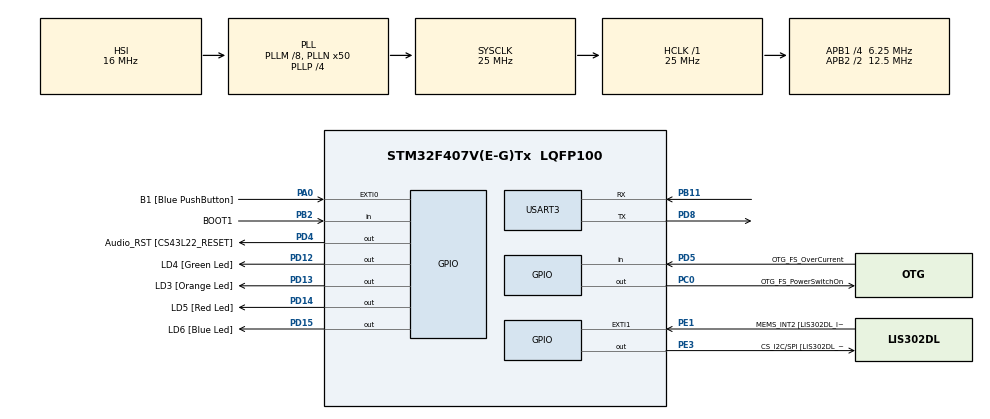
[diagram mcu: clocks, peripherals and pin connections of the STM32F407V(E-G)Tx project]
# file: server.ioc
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Mcu.Family=STM32F4
Mcu.Name=STM32F407V(E-G)Tx
Mcu.Package=LQFP100
NVIC.EXTI0_IRQn=true\:0\:0\:false\:false\:true\:true\:true\:true
NVIC.PriorityGroup=NVIC_PRIORITYGROUP_0
NVIC.USART3_IRQn=true\:0\:0\:false\:false\:true\:true\:true\:true
PA0-WKUP.GPIO_Label=B1 [Blue PushButton]
PA0-WKUP.GPIO_ModeDefaultEXTI=GPIO_MODE_IT_FALLING
PA0-WKUP.Signal=GPXTI0
PA10.GPIO_Label=OTG_FS_ID
PA10.GPIO_Mode=GPIO_MODE_AF_PP
PA10.GPIO_PuPd=GPIO_NOPULL
PA10.GPIO_Speed=GPIO_SPEED_FREQ_LOW
PA10.Signal=USB_OTG_FS_ID
PA11.GPIO_Label=OTG_FS_DM
PA11.GPIO_Mode=GPIO_MODE_AF_PP
PA11.GPIO_PuPd=GPIO_NOPULL
PA11.GPIO_Speed=GPIO_SPEED_FREQ_LOW
PA11.Signal=USB_OTG_FS_DM
PA12.GPIO_Label=OTG_FS_DP
PA12.GPIO_Mode=GPIO_MODE_AF_PP
PA12.GPIO_PuPd=GPIO_NOPULL
PA12.GPIO_Speed=GPIO_SPEED_FREQ_LOW
PA12.Signal=USB_OTG_FS_DP
PA13.GPIO_Label=SWDIO
PA13.Signal=SYS_JTMS-SWDIO
PA14.GPIO_Label=SWCLK
PA14.Signal=SYS_JTCK-SWCLK
PA4.GPIO_Label=I2S3_WS [CS43L22_LRCK]
PA4.GPIO_Mode=GPIO_MODE_AF_PP
PA4.GPIO_PuPd=GPIO_NOPULL
PA4.GPIO_Speed=GPIO_SPEED_FREQ_LOW
PA4.Signal=I2S3_WS
PA5.GPIO_Label=SPI1_SCK [LIS302DL_SCL/SPC]
PA5.GPIO_Mode=GPIO_MODE_AF_PP
PA5.GPIO_PuPd=GPIO_NOPULL
PA5.GPIO_Speed=GPIO_SPEED_FREQ_LOW
PA5.Signal=SPI1_SCK
PA6.GPIO_Label=SPI1_MISO [LIS302DL_SDO]
PA6.GPIO_Mode=GPIO_MODE_AF_PP
PA6.GPIO_PuPd=GPIO_NOPULL
PA6.GPIO_Speed=GPIO_SPEED_FREQ_LOW
PA6.Signal=SPI1_MISO
PA7.GPIO_Label=SPI1_MOSI [LIS302DL_SDA/SDI/SDO]
PA7.GPIO_Mode=GPIO_MODE_AF_PP
PA7.GPIO_PuPd=GPIO_NOPULL
PA7.GPIO_Speed=GPIO_SPEED_FREQ_LOW
PA7.Signal=SPI1_MOSI
PA9.GPIO_Label=VBUS_FS
PA9.GPIO_Mode=GPIO_MODE_INPUT
PA9.GPIO_PuPd=GPIO_NOPULL
PA9.Signal=USB_OTG_FS_VBUS
PB10.GPIO_Label=CLK_IN [MP45DT02_CLK]
PB10.GPIO_Mode=GPIO_MODE_AF_PP
PB10.GPIO_PuPd=GPIO_NOPULL
PB10.GPIO_Speed=GPIO_SPEED_FREQ_LOW
PB10.Signal=I2S2_CK
PB11.Mode=Asynchronous
PB11.Signal=USART3_RX
PB2.GPIO_Label=BOOT1
PB2.GPIO_Mode=GPIO_MODE_INPUT
PB2.GPIO_PuPd=GPIO_NOPULL
PB2.Signal=GPIO_Input
PB3.GPIO_Label=SWO
PB3.Signal=SYS_JTDO-SWO
PB6.GPIO_Label=Audio_SCL [CS43L22_SCL]
PB6.GPIO_Mode=GPIO_MODE_AF_OD
PB6.GPIO_PuPd=GPIO_NOPULL
PB6.GPIO_Speed=GPIO_SPEED_FREQ_LOW
PB6.Signal=I2C1_SCL
PB9.GPIO_Label=Audio_SDA [CS43L22_SDA]
PB9.GPIO_Mode=GPIO_MODE_AF_OD
PB9.GPIO_PuPd=GPIO_NOPULL
PB9.GPIO_Speed=GPIO_SPEED_FREQ_LOW
PB9.Signal=I2C1_SDA
PC0.GPIO_Label=OTG_FS_PowerSwitchOn
PC0.GPIO_PuPd=GPIO_NOPULL
PC0.GPIO_Speed=GPIO_SPEED_FREQ_LOW
PC0.PinState=GPIO_PIN_SET
PC0.Signal=GPIO_Output
PC10.GPIO_Label=I2S3_SCK [CS43L22_SCLK]
PC10.GPIO_Mode=GPIO_MODE_AF_PP
PC10.GPIO_PuPd=GPIO_NOPULL
PC10.GPIO_Speed=GPIO_SPEED_FREQ_LOW
PC10.Signal=I2S3_CK
PC12.GPIO_Label=I2S3_SD [CS43L22_SDIN]
PC12.GPIO_Mode=GPIO_MODE_AF_PP
PC12.GPIO_PuPd=GPIO_NOPULL
PC12.GPIO_Speed=GPIO_SPEED_FREQ_LOW
PC12.Signal=I2S3_SD
PC14-OSC32_IN.GPIO_Label=PC14-OSC32_IN
PC14-OSC32_IN.Signal=RCC_OSC32_IN
PC15-OSC32_OUT.GPIO_Label=PC15-OSC32_OUT
PC15-OSC32_OUT.Signal=RCC_OSC32_OUT
PC3.GPIO_Label=PDM_OUT [MP45DT02_DOUT]
PC3.GPIO_Mode=GPIO_MODE_AF_PP
PC3.GPIO_PuPd=GPIO_NOPULL
PC3.GPIO_Speed=GPIO_SPEED_FREQ_LOW
PC3.Signal=I2S2_SD
PC7.GPIO_Label=I2S3_MCK [CS43L22_MCLK]
PC7.GPIO_Mode=GPIO_MODE_AF_PP
PC7.GPIO_PuPd=GPIO_NOPULL
PC7.GPIO_Speed=GPIO_SPEED_FREQ_LOW
PC7.Signal=I2S3_MCK
PD12.GPIO_Label=LD4 [Green Led]
PD12.GPIO_PuPd=GPIO_NOPULL
PD12.GPIO_Speed=GPIO_SPEED_FREQ_LOW
PD12.Signal=GPIO_Output
PD13.GPIO_Label=LD3 [Orange Led]
PD13.GPIO_PuPd=GPIO_NOPULL
PD13.GPIO_Speed=GPIO_SPEED_FREQ_LOW
PD13.Signal=GPIO_Output
PD14.GPIO_Label=LD5 [Red Led]
PD14.GPIO_PuPd=GPIO_NOPULL
PD14.GPIO_Speed=GPIO_SPEED_FREQ_LOW
PD14.Signal=GPIO_Output
PD15.GPIO_Label=LD6 [Blue Led]
PD15.GPIO_PuPd=GPIO_NOPULL
PD15.GPIO_Speed=GPIO_SPEED_FREQ_LOW
PD15.Signal=GPIO_Output
PD4.GPIO_Label=Audio_RST [CS43L22_RESET]
PD4.GPIO_PuPd=GPIO_NOPULL
PD4.GPIO_Speed=GPIO_SPEED_FREQ_LOW
PD4.Signal=GPIO_Output
PD5.GPIO_Label=OTG_FS_OverCurrent
PD5.GPIO_Mode=GPIO_MODE_INPUT
PD5.GPIO_PuPd=GPIO_NOPULL
PD5.Signal=GPIO_Input
PD8.Mode=Asynchronous
PD8.Signal=USART3_TX
PE1.GPIO_Label=MEMS_INT2 [LIS302DL_INT2]
PE1.GPIO_ModeDefaultEXTI=GPIO_MODE_EVT_RISING
PE1.GPIO_PuPd=GPIO_NOPULL
PE1.Signal=GPXTI1
PE3.GPIO_Label=CS_I2C/SPI [LIS302DL_CS_I2C/SPI]
PE3.GPIO_PuPd=GPIO_NOPULL
PE3.GPIO_Speed=GPIO_SPEED_FREQ_LOW
PE3.Signal=GPIO_Output
PH0-OSC_IN.GPIO_Label=PH0-OSC_IN
PH0-OSC_IN.Signal=RCC_OSC_IN
PH1-OSC_OUT.GPIO_Label=PH1-OSC_OUT
PH1-OSC_OUT.Signal=RCC_OSC_OUT
ProjectManager.HeapSize=0x200
ProjectManager.StackSize=0x400
ProjectManager.TargetToolchain=Makefile
RCC.48MHZClocksFreq_Value=14285714.285714285
RCC.AHBFreq_Value=25000000
RCC.APB1CLKDivider=RCC_HCLK_DIV4
RCC.APB1Freq_Value=6250000
RCC.APB1TimFreq_Value=12500000
RCC.APB2CLKDivider=RCC_HCLK_DIV2
RCC.APB2Freq_Value=12500000
RCC.APB2TimFreq_Value=25000000
RCC.CortexFreq_Value=25000000
RCC.HCLKFreq_Value=25000000
RCC.HSE_VALUE=8000000
RCC.HSI_VALUE=16000000
RCC.LSE_VALUE=32768
RCC.PLLM=8
RCC.PLLN=50
RCC.PLLP=RCC_PLLP_DIV4
RCC.PLLQ=7
RCC.SYSCLKFreq_VALUE=25000000
RCC.SYSCLKSource=RCC_SYSCLKSOURCE_PLLCLK
RCC.VCOOutputFreq_Value=100000000
USART3.VirtualMode=VM_ASYNC
board=STM32F407G-DISC1

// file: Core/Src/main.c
/* USER CODE BEGIN Header */
/**
 ******************************************************************************
 * @file           : main.c
 * @brief          : Main program body
 ******************************************************************************
 * @attention
 *
 * Copyright (c) 2025 STMicroelectronics.
 * All rights reserved.
 *
 * This software is licensed under terms that can be found in the LICENSE file
 * in the root directory of this software component.
 * If no LICENSE file comes with this software, it is provided AS-IS.
 *
 ******************************************************************************
 */
/* USER CODE END Header */
#include "main.h"

UART_HandleTypeDef huart3;

void SystemClock_Config(void);
static void MX_GPIO_Init(void);
static void MX_USART3_UART_Init(void);

/* USER CODE BEGIN 0 */

typedef struct
{
  uint8_t event_counter;
  uint8_t package_data[106];
} main_data_t;

main_data_t main_data = {
    .event_counter = 0,
    .package_data = "Andre Escorel, 300508401\r\n"
                    "Igor Balbino, 300508402\r\n"
                    "Lucas César, 300508403\r\n"
                    "Lucas Gonçalves, 300508404\r\n",
};

typedef enum
{
  SYSTEM_IDLE = 0x00,
  SYSTEM_RECEIVING = 0x01,
  SYSTEM_TRANSMITING = 0x02,
  SYSTEM_TRANSMITTING_END = 0x04
} system_state_t;

volatile uint8_t request_status = 0x00;
volatile system_state_t system_state = SYSTEM_IDLE;

void HAL_GPIO_EXTI_Callback(uint16_t GPIO_Pin)
{
  if (GPIO_Pin == B1_Pin)
  {
    main_data.event_counter++;
    HAL_GPIO_WritePin(LD6_GPIO_Port, LD6_Pin, GPIO_PIN_SET);
  }
  else
    __NOP();
}

void HAL_UART_RxCpltCallback(UART_HandleTypeDef *huart)
{
  if (huart->Instance == USART3)
  {
    if (system_state == SYSTEM_IDLE)
    {
      if (request_status == 0x5A)
        system_state = SYSTEM_TRANSMITING;
      HAL_UART_Receive_IT(&huart3, &request_status, 1);
    }
    else if (system_state == SYSTEM_TRANSMITING)
    {
      if (request_status == 0x01)
        system_state = SYSTEM_TRANSMITTING_END;

      HAL_UART_Receive_IT(&huart3, &request_status, 1);
    }
  }
  else
    __NOP();
}

void HAL_UART_TxCpltCallback(UART_HandleTypeDef *huart)
{
  if (huart->Instance == USART3)
  {
    if (system_state == SYSTEM_TRANSMITING)
    {
      HAL_GPIO_WritePin(LD3_GPIO_Port, LD3_Pin, GPIO_PIN_RESET);
      HAL_GPIO_WritePin(LD4_GPIO_Port, LD4_Pin, GPIO_PIN_SET);
      HAL_UART_Receive_IT(&huart3, &request_status, 1);
    }
  }
  else
    __NOP();
}
/* USER CODE END 0 */

int main(void)
{

  /* MCU Configuration--------------------------------------------------------*/

  /* Reset of all peripherals, Initializes the Flash interface and the Systick. */
  HAL_Init();

  /* Configure the system clock */
  SystemClock_Config();

  /* Initialize all configured peripherals */
  MX_GPIO_Init();
  MX_USART3_UART_Init();

  /* Infinite loop */
  /* USER CODE BEGIN WHILE */
  while (1)
  {
    switch (system_state)
    {
    case SYSTEM_IDLE:
      HAL_GPIO_WritePin(LD3_GPIO_Port, LD3_Pin, GPIO_PIN_RESET);
      HAL_GPIO_WritePin(LD4_GPIO_Port, LD4_Pin, GPIO_PIN_RESET);
      HAL_GPIO_WritePin(LD5_GPIO_Port, LD5_Pin, GPIO_PIN_RESET);
      if (main_data.event_counter == 0)
        HAL_GPIO_WritePin(LD6_GPIO_Port, LD6_Pin, GPIO_PIN_RESET);
      break;
    case SYSTEM_TRANSMITING:
      HAL_UART_Transmit_IT(&huart3, (uint8_t *)&main_data, sizeof(main_data_t));
      break;
    case SYSTEM_TRANSMITTING_END:
      main_data.event_counter = 0;
      request_status = 0x00;
      system_state = SYSTEM_IDLE;
      HAL_UART_Receive_IT(&huart3, &request_status, 1);
    default:
      system_state = SYSTEM_IDLE;
      break;
    }

    /* USER CODE END WHILE */

  }
}

void SystemClock_Config(void)
{
  RCC_OscInitTypeDef RCC_OscInitStruct = {0};
  RCC_ClkInitTypeDef RCC_ClkInitStruct = {0};

  /** Configure the main internal regulator output voltage
   */
  __HAL_RCC_PWR_CLK_ENABLE();
  __HAL_PWR_VOLTAGESCALING_CONFIG(PWR_REGULATOR_VOLTAGE_SCALE1);

  /** Initializes the RCC Oscillators according to the specified parameters
   * in the RCC_OscInitTypeDef structure.
   */
  RCC_OscInitStruct.OscillatorType = RCC_OSCILLATORTYPE_HSI;
  RCC_OscInitStruct.HSIState = RCC_HSI_ON;
  RCC_OscInitStruct.HSICalibrationValue = RCC_HSICALIBRATION_DEFAULT;
  RCC_OscInitStruct.PLL.PLLState = RCC_PLL_ON;
  RCC_OscInitStruct.PLL.PLLSource = RCC_PLLSOURCE_HSI;
  RCC_OscInitStruct.PLL.PLLM = 8;
  RCC_OscInitStruct.PLL.PLLN = 50;
  RCC_OscInitStruct.PLL.PLLP = RCC_PLLP_DIV4;
  RCC_OscInitStruct.PLL.PLLQ = 7;
  if (HAL_RCC_OscConfig(&RCC_OscInitStruct) != HAL_OK)
  {
    Error_Handler();
  }

  /** Initializes the CPU, AHB and APB buses clocks
   */
  RCC_ClkInitStruct.ClockType = RCC_CLOCKTYPE_HCLK | RCC_CLOCKTYPE_SYSCLK | RCC_CLOCKTYPE_PCLK1 | RCC_CLOCKTYPE_PCLK2;
  RCC_ClkInitStruct.SYSCLKSource = RCC_SYSCLKSOURCE_PLLCLK;
  RCC_ClkInitStruct.AHBCLKDivider = RCC_SYSCLK_DIV1;
  RCC_ClkInitStruct.APB1CLKDivider = RCC_HCLK_DIV4;
  RCC_ClkInitStruct.APB2CLKDivider = RCC_HCLK_DIV2;

  if (HAL_RCC_ClockConfig(&RCC_ClkInitStruct, FLASH_LATENCY_0) != HAL_OK)
  {
    Error_Handler();
  }
}

static void MX_USART3_UART_Init(void)
{

  huart3.Instance = USART3;
  huart3.Init.BaudRate = 115200;
  huart3.Init.WordLength = UART_WORDLENGTH_8B;
  huart3.Init.StopBits = UART_STOPBITS_1;
  huart3.Init.Parity = UART_PARITY_NONE;
  huart3.Init.Mode = UART_MODE_TX_RX;
  huart3.Init.HwFlowCtl = UART_HWCONTROL_NONE;
  huart3.Init.OverSampling = UART_OVERSAMPLING_16;
  if (HAL_UART_Init(&huart3) != HAL_OK)
  {
    Error_Handler();
  }
}

static void MX_GPIO_Init(void)
{
  GPIO_InitTypeDef GPIO_InitStruct = {0};

  /* GPIO Ports Clock Enable */
  __HAL_RCC_GPIOE_CLK_ENABLE();
  __HAL_RCC_GPIOC_CLK_ENABLE();
  __HAL_RCC_GPIOH_CLK_ENABLE();
  __HAL_RCC_GPIOA_CLK_ENABLE();
  __HAL_RCC_GPIOB_CLK_ENABLE();
  __HAL_RCC_GPIOD_CLK_ENABLE();

  /*Configure GPIO pin Output Level */
  HAL_GPIO_WritePin(CS_I2C_SPI_GPIO_Port, CS_I2C_SPI_Pin, GPIO_PIN_RESET);

  /*Configure GPIO pin Output Level */
  HAL_GPIO_WritePin(OTG_FS_PowerSwitchOn_GPIO_Port, OTG_FS_PowerSwitchOn_Pin, GPIO_PIN_SET);

  /*Configure GPIO pin Output Level */
  HAL_GPIO_WritePin(GPIOD, LD4_Pin | LD3_Pin | LD5_Pin | LD6_Pin | Audio_RST_Pin, GPIO_PIN_RESET);

  /*Configure GPIO pin : CS_I2C_SPI_Pin */
  GPIO_InitStruct.Pin = CS_I2C_SPI_Pin;
  GPIO_InitStruct.Mode = GPIO_MODE_OUTPUT_PP;
  GPIO_InitStruct.Pull = GPIO_NOPULL;
  GPIO_InitStruct.Speed = GPIO_SPEED_FREQ_LOW;
  HAL_GPIO_Init(CS_I2C_SPI_GPIO_Port, &GPIO_InitStruct);

  /*Configure GPIO pin : OTG_FS_PowerSwitchOn_Pin */
  GPIO_InitStruct.Pin = OTG_FS_PowerSwitchOn_Pin;
  GPIO_InitStruct.Mode = GPIO_MODE_OUTPUT_PP;
  GPIO_InitStruct.Pull = GPIO_NOPULL;
  GPIO_InitStruct.Speed = GPIO_SPEED_FREQ_LOW;
  HAL_GPIO_Init(OTG_FS_PowerSwitchOn_GPIO_Port, &GPIO_InitStruct);

  /*Configure GPIO pin : PDM_OUT_Pin */
  GPIO_InitStruct.Pin = PDM_OUT_Pin;
  GPIO_InitStruct.Mode = GPIO_MODE_AF_PP;
  GPIO_InitStruct.Pull = GPIO_NOPULL;
  GPIO_InitStruct.Speed = GPIO_SPEED_FREQ_LOW;
  GPIO_InitStruct.Alternate = GPIO_AF5_SPI2;
  HAL_GPIO_Init(PDM_OUT_GPIO_Port, &GPIO_InitStruct);

  /*Configure GPIO pin : B1_Pin */
  GPIO_InitStruct.Pin = B1_Pin;
  GPIO_InitStruct.Mode = GPIO_MODE_IT_FALLING;
  GPIO_InitStruct.Pull = GPIO_NOPULL;
  HAL_GPIO_Init(B1_GPIO_Port, &GPIO_InitStruct);

  /*Configure GPIO pin : I2S3_WS_Pin */
  GPIO_InitStruct.Pin = I2S3_WS_Pin;
  GPIO_InitStruct.Mode = GPIO_MODE_AF_PP;
  GPIO_InitStruct.Pull = GPIO_NOPULL;
  GPIO_InitStruct.Speed = GPIO_SPEED_FREQ_LOW;
  GPIO_InitStruct.Alternate = GPIO_AF6_SPI3;
  HAL_GPIO_Init(I2S3_WS_GPIO_Port, &GPIO_InitStruct);

  /*Configure GPIO pins : SPI1_SCK_Pin SPI1_MISO_Pin SPI1_MOSI_Pin */
  GPIO_InitStruct.Pin = SPI1_SCK_Pin | SPI1_MISO_Pin | SPI1_MOSI_Pin;
  GPIO_InitStruct.Mode = GPIO_MODE_AF_PP;
  GPIO_InitStruct.Pull = GPIO_NOPULL;
  GPIO_InitStruct.Speed = GPIO_SPEED_FREQ_LOW;
  GPIO_InitStruct.Alternate = GPIO_AF5_SPI1;
  HAL_GPIO_Init(GPIOA, &GPIO_InitStruct);

  /*Configure GPIO pin : BOOT1_Pin */
  GPIO_InitStruct.Pin = BOOT1_Pin;
  GPIO_InitStruct.Mode = GPIO_MODE_INPUT;
  GPIO_InitStruct.Pull = GPIO_NOPULL;
  HAL_GPIO_Init(BOOT1_GPIO_Port, &GPIO_InitStruct);

  /*Configure GPIO pin : CLK_IN_Pin */
  GPIO_InitStruct.Pin = CLK_IN_Pin;
  GPIO_InitStruct.Mode = GPIO_MODE_AF_PP;
  GPIO_InitStruct.Pull = GPIO_NOPULL;
  GPIO_InitStruct.Speed = GPIO_SPEED_FREQ_LOW;
  GPIO_InitStruct.Alternate = GPIO_AF5_SPI2;
  HAL_GPIO_Init(CLK_IN_GPIO_Port, &GPIO_InitStruct);

  /*Configure GPIO pins : LD4_Pin LD3_Pin LD5_Pin LD6_Pin
                           Audio_RST_Pin */
  GPIO_InitStruct.Pin = LD4_Pin | LD3_Pin | LD5_Pin | LD6_Pin | Audio_RST_Pin;
  GPIO_InitStruct.Mode = GPIO_MODE_OUTPUT_PP;
  GPIO_InitStruct.Pull = GPIO_NOPULL;
  GPIO_InitStruct.Speed = GPIO_SPEED_FREQ_LOW;
  HAL_GPIO_Init(GPIOD, &GPIO_InitStruct);

  /*Configure GPIO pins : I2S3_MCK_Pin I2S3_SCK_Pin I2S3_SD_Pin */
  GPIO_InitStruct.Pin = I2S3_MCK_Pin | I2S3_SCK_Pin | I2S3_SD_Pin;
  GPIO_InitStruct.Mode = GPIO_MODE_AF_PP;
  GPIO_InitStruct.Pull = GPIO_NOPULL;
  GPIO_InitStruct.Speed = GPIO_SPEED_FREQ_LOW;
  GPIO_InitStruct.Alternate = GPIO_AF6_SPI3;
  HAL_GPIO_Init(GPIOC, &GPIO_InitStruct);

  /*Configure GPIO pin : VBUS_FS_Pin */
  GPIO_InitStruct.Pin = VBUS_FS_Pin;
  GPIO_InitStruct.Mode = GPIO_MODE_INPUT;
  GPIO_InitStruct.Pull = GPIO_NOPULL;
  HAL_GPIO_Init(VBUS_FS_GPIO_Port, &GPIO_InitStruct);

  /*Configure GPIO pins : OTG_FS_ID_Pin OTG_FS_DM_Pin OTG_FS_DP_Pin */
  GPIO_InitStruct.Pin = OTG_FS_ID_Pin | OTG_FS_DM_Pin | OTG_FS_DP_Pin;
  GPIO_InitStruct.Mode = GPIO_MODE_AF_PP;
  GPIO_InitStruct.Pull = GPIO_NOPULL;
  GPIO_InitStruct.Speed = GPIO_SPEED_FREQ_LOW;
  GPIO_InitStruct.Alternate = GPIO_AF10_OTG_FS;
  HAL_GPIO_Init(GPIOA, &GPIO_InitStruct);

  /*Configure GPIO pin : OTG_FS_OverCurrent_Pin */
  GPIO_InitStruct.Pin = OTG_FS_OverCurrent_Pin;
  GPIO_InitStruct.Mode = GPIO_MODE_INPUT;
  GPIO_InitStruct.Pull = GPIO_NOPULL;
  HAL_GPIO_Init(OTG_FS_OverCurrent_GPIO_Port, &GPIO_InitStruct);

  /*Configure GPIO pins : Audio_SCL_Pin Audio_SDA_Pin */
  GPIO_InitStruct.Pin = Audio_SCL_Pin | Audio_SDA_Pin;
  GPIO_InitStruct.Mode = GPIO_MODE_AF_OD;
  GPIO_InitStruct.Pull = GPIO_NOPULL;
  GPIO_InitStruct.Speed = GPIO_SPEED_FREQ_LOW;
  GPIO_InitStruct.Alternate = GPIO_AF4_I2C1;
  HAL_GPIO_Init(GPIOB, &GPIO_InitStruct);

  /*Configure GPIO pin : MEMS_INT2_Pin */
  GPIO_InitStruct.Pin = MEMS_INT2_Pin;
  GPIO_InitStruct.Mode = GPIO_MODE_EVT_RISING;
  GPIO_InitStruct.Pull = GPIO_NOPULL;
  HAL_GPIO_Init(MEMS_INT2_GPIO_Port, &GPIO_InitStruct);

  /* EXTI interrupt init*/
  HAL_NVIC_SetPriority(EXTI0_IRQn, 0, 0);
  HAL_NVIC_EnableIRQ(EXTI0_IRQn);

}

void Error_Handler(void)
{
  __disable_irq();
  while (1)
  {
  }
}
